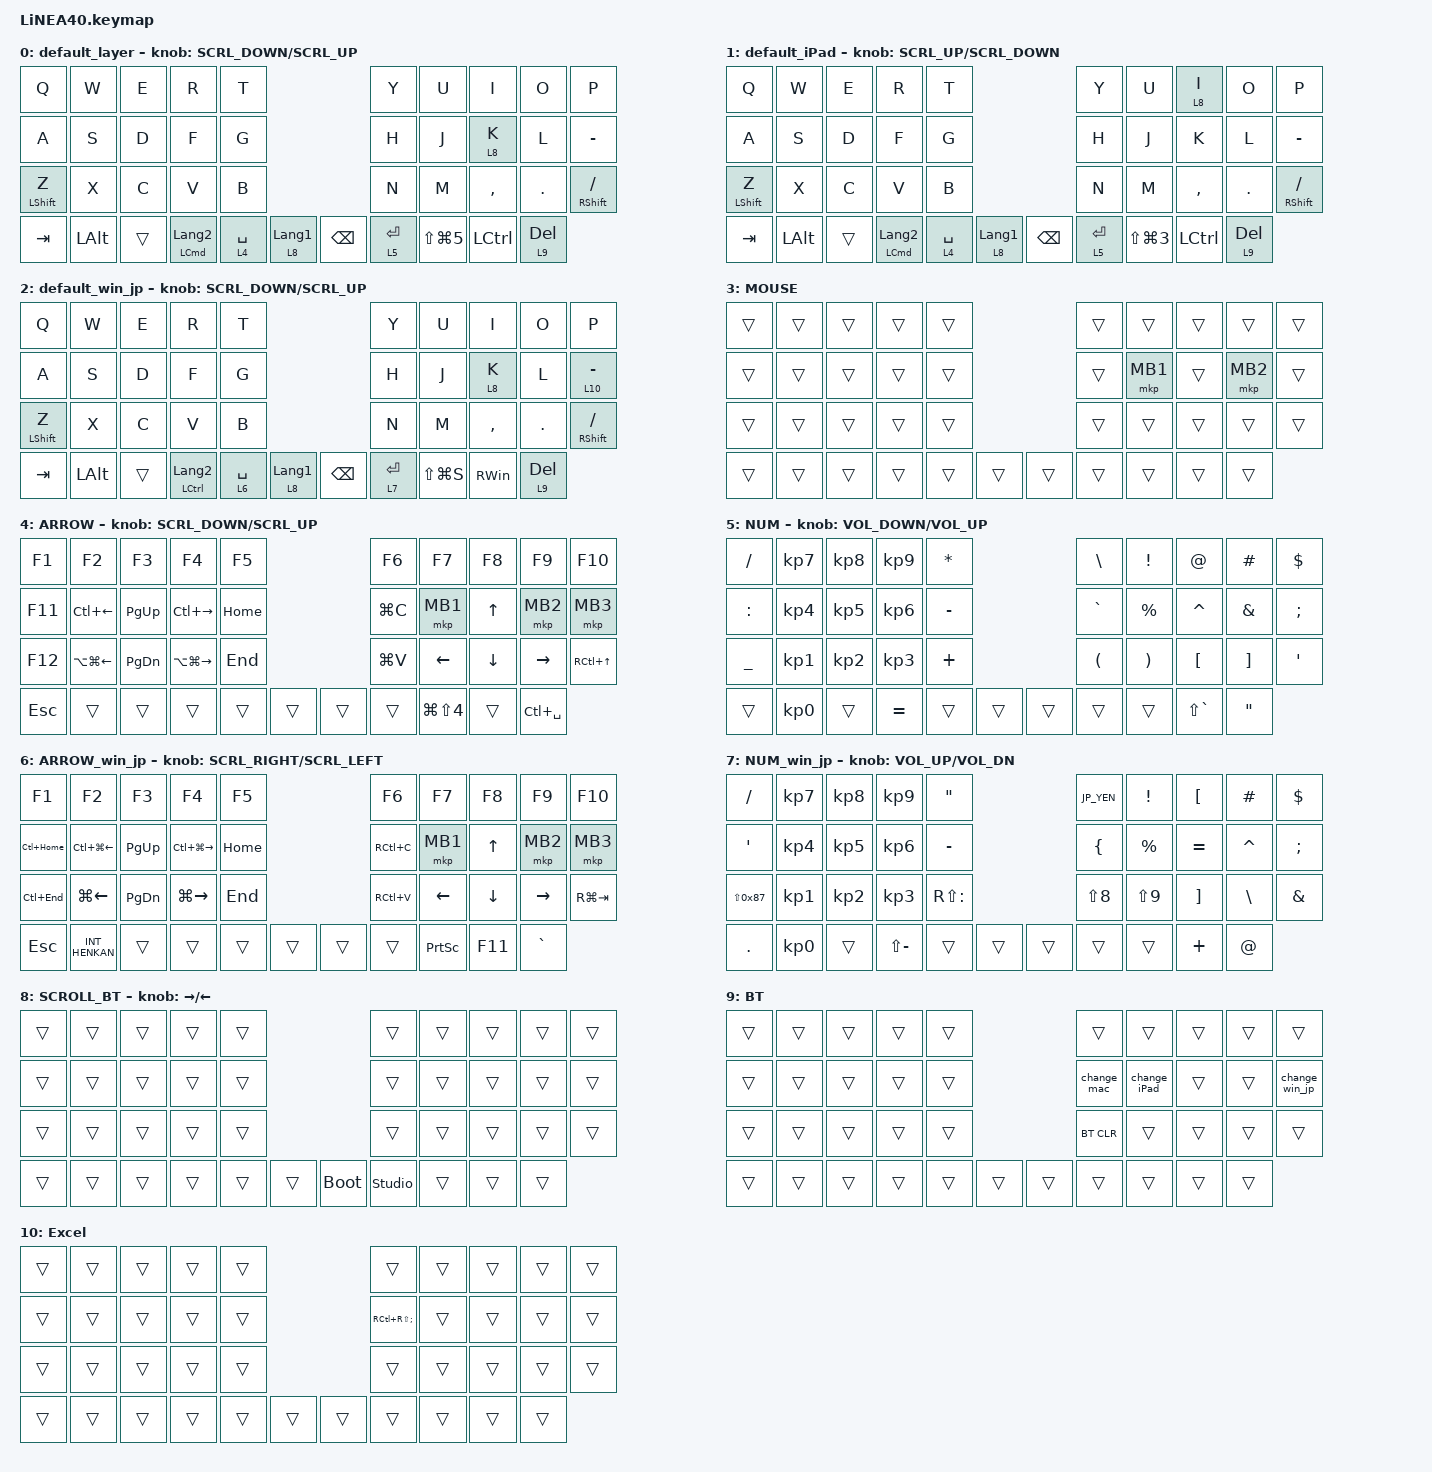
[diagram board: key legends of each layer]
#define ZMK_POINTING_DEFAULT_SCRL_VAL 150

#include <dt-bindings/zmk/input_transform.h>
#include <input/processors.dtsi>
#include <zephyr/dt-bindings/input/input-event-codes.h>
#include <behaviors.dtsi>
#include <dt-bindings/zmk/bt.h>
#include <dt-bindings/zmk/keys.h>
#include <dt-bindings/zmk/pointing.h>

#define default_layer 0
#define default_iPad 1
#define default_win_jp 2
#define MOUSE      3
#define ARROW      4
#define NUM        5
#define ARROW_WIN  6
#define NUM_WIN    7
#define SCROLL_BT  8
#define JP_YEN          0x89
#define JP_TILDE    　　LS(JP_CARET)
#define JP_BACKQUOTE    LEFT_BRACE
#define JP_UNDERSCORE   LS(0x87)

//mouse cursol

&mmv {
    delay-ms = <20>;
    trigger-period-ms = <5>;
    time-to-max-speed-ms = <100>;
    acceleration-exponent = <2>;
};

//mouse scroll

&msc {
    delay-ms = <3>;
    trigger-period-ms = <3>;
    time-to-max-speed-ms = <100>;
    acceleration-exponent = <0>;
};

/ {
    input_processors {
        zip_wheel_scaler: zip_wheel_scaler {
            compatible = "zmk,input-processor-scaler";
            #input-processor-cells = <2>;
            type = <INPUT_EV_REL>;
            codes = <INPUT_REL_WHEEL>;
            track-remainders;
        };
    };
};

/*
&msc_input_listener {
    speed_up {
        layers = <SCROLL_BT>;
        input-processors = <&zip_wheel_scaler 2 1>; //スクロールを2倍速にする
    };
};
*/

&trackball_listener {
    scroller {
        layers = <SCROLL_BT>;
        input-processors =
            <&zip_xy_transform INPUT_TRANSFORM_Y_INVERT>,
            //スクロール方向を逆転,,,,,,,,,,,,,,,,,,,,,,,,,,,,,,,,
            <&zip_xy_to_scroll_mapper>;
    };
};

/ {
    combos {
        compatible = "zmk,combos";

        Tab {
            bindings = <&kp TAB>;
            key-positions = <11 12>;
        };

        Shift_tab {
            bindings = <&kp LS(TAB)>;
            key-positions = <13 12>;
        };

        escape {
            bindings = <&kp ESCAPE>;
            key-positions = <0 1>;
        };

        Left_Click {
            bindings = <&mkp MB1>;
            key-positions = <17 16>;
        };

        Right_Click {
            bindings = <&mkp MB2>;
            key-positions = <18 17>;
        };
    };

    behaviors {
        re_kp: sensor_rotate_kp {
            compatible = "zmk,behavior-sensor-rotate-var";
            #sensor-binding-cells = <2>;
            bindings = <&kp>, <&kp>;
        };

        mouse_scrl: mouse_wheel_scrl {
            compatible = "zmk,behavior-sensor-rotate-var";
            #sensor-binding-cells = <2>;
            bindings = <&msc>, <&msc>;

            tap-ms = <20>;
        };
    };

    macros {
        change_mac: change_mac {
            compatible = "zmk,behavior-macro";
            #binding-cells = <0>;
            bindings = <&bt BT_SEL 0 &to 0>;
            label = "CHANGE_MAC";
        };

        change_iPad: change_iPad {
            compatible = "zmk,behavior-macro";
            #binding-cells = <0>;
            bindings = <&bt BT_SEL 1 &to 1>;
            label = "CHANGE_IPAD";
        };

        change_win_jp: change_win_jp {
            compatible = "zmk,behavior-macro";
            #binding-cells = <0>;
            bindings = <&bt BT_SEL 4 &to 2>;
            label = "CHANGE_WIN_JP";
        };
    };

    keymap {
        compatible = "zmk,keymap";

        default_layer {
            bindings = <
&kp Q             &kp W         &kp E   &kp R                        &kp T                                           &kp Y        &kp U  &kp I           &kp O      &kp P
&kp A             &kp S         &kp D   &kp F                        &kp G                                           &kp H        &kp J  &lt 8 K         &kp L      &kp MINUS
&mt LEFT_SHIFT Z  &kp X         &kp C   &kp V                        &kp B                                           &kp N        &kp M  &kp COMMA       &kp DOT    &mt RIGHT_SHIFT SLASH
&kp TAB           &kp LEFT_ALT  &trans  &mt LEFT_COMMAND LANGUAGE_2  &lt 4 SPACE  &lt 8 LANGUAGE_1    &kp BACKSPACE  &lt 5 ENTER         &kp LS(LG(N5))  &kp LCTRL  &lt 9 DELETE
            >;

            sensor-bindings = <&mouse_scrl SCRL_DOWN SCRL_UP>;
        };

        default_iPad {
            bindings = <
&kp Q             &kp W         &kp E   &kp R                        &kp T                                           &kp Y        &kp U  &lt 8 I               &kp O      &kp P
&kp A             &kp S         &kp D   &kp F                        &kp G                                           &kp H        &kp J  &kp K                 &kp L      &kp MINUS
&mt LEFT_SHIFT Z  &kp X         &kp C   &kp V                        &kp B                                           &kp N        &kp M  &kp COMMA             &kp DOT    &mt RIGHT_SHIFT SLASH
&kp TAB           &kp LEFT_ALT  &trans  &mt LEFT_COMMAND LANGUAGE_2  &lt 4 SPACE  &lt 8 LANGUAGE_1    &kp BACKSPACE  &lt 5 ENTER         &kp LS(LG(NUMBER_3))  &kp LCTRL  &lt 9 DELETE
            >;

            sensor-bindings = <&mouse_scrl SCRL_UP SCRL_DOWN>;
        };

        default_win_jp {
            bindings = <
&kp Q             &kp W         &kp E   &kp R                 &kp T                                           &kp Y        &kp U  &kp I          &kp O          &kp P
&kp A             &kp S         &kp D   &kp F                 &kp G                                           &kp H        &kp J  &lt 8 K        &kp L          &lt 10 MINUS
&mt LEFT_SHIFT Z  &kp X         &kp C   &kp V                 &kp B                                           &kp N        &kp M  &kp COMMA      &kp DOT        &mt RIGHT_SHIFT SLASH
&kp TAB           &kp LEFT_ALT  &trans  &mt LCTRL LANGUAGE_2  &lt 6 SPACE  &lt 8 LANGUAGE_1    &kp BACKSPACE  &lt 7 ENTER         &kp LS(LG(S))  &kp RIGHT_WIN  &lt 9 DELETE
            >;

            sensor-bindings = <&mouse_scrl SCRL_DOWN SCRL_UP>;
        };

        MOUSE {
            bindings = <
&trans  &trans  &trans  &trans  &trans                    &trans  &trans    &trans  &trans    &trans
&trans  &trans  &trans  &trans  &trans                    &trans  &mkp MB1  &trans  &mkp MB2  &trans
&trans  &trans  &trans  &trans  &trans                    &trans  &trans    &trans  &trans    &trans
&trans  &trans  &trans  &trans  &trans  &trans    &trans  &trans            &trans  &trans    &trans
            >;
        };

        ARROW {
            bindings = <
&kp F1      &kp F2            &kp F3         &kp F4             &kp F5                      &kp F6     &kp F7    &kp F8                &kp F9     &kp F10
&kp F11     &kp LC(LEFT)      &kp PAGE_UP    &kp LC(RIGHT)      &kp HOME                    &kp LG(C)  &mkp MB1  &kp UP_ARROW          &mkp MB2   &mkp MB3
&kp F12     &kp LA(LG(LEFT))  &kp PAGE_DOWN  &kp LA(LG(RIGHT))  &kp END                     &kp LG(V)  &kp LEFT  &kp DOWN_ARROW        &kp RIGHT  &kp RC(UP_ARROW)
&kp ESCAPE  &trans            &trans         &trans             &trans    &trans    &trans  &trans               &kp LG(LS(NUMBER_4))  &trans     &kp LC(SPACE)
            >;

            sensor-bindings = <&mouse_scrl SCRL_DOWN SCRL_UP>;
        };

        NUM {
            bindings = <
&kp SLASH       &kp KP_NUMBER_7  &kp KP_NUMBER_8  &kp KP_NUMBER_9  &kp ASTERISK                    &kp BACKSLASH         &kp EXCLAMATION        &kp AT_SIGN       &kp HASH           &kp DOLLAR
&kp COLON       &kp KP_NUMBER_4  &kp KP_NUMBER_5  &kp KP_NUMBER_6  &kp MINUS                       &kp GRAVE             &kp PERCENT            &kp CARET         &kp AMPERSAND      &kp SEMICOLON
&kp UNDERSCORE  &kp KP_NUMBER_1  &kp KP_NUMBER_2  &kp KP_NUMBER_3  &kp PLUS                        &kp LEFT_PARENTHESIS  &kp RIGHT_PARENTHESIS  &kp LEFT_BRACKET  &kp RIGHT_BRACKET  &kp SQT
&trans          &kp KP_NUMBER_0  &trans           &kp EQUAL        &trans        &trans    &trans  &trans                                       &trans            &kp LS(GRAVE)      &kp DOUBLE_QUOTES
            >;

            sensor-bindings = <&re_kp C_VOLUME_DOWN C_VOLUME_UP>;
        };

        ARROW_win_jp {
            bindings = <
&kp F1        &kp F2            &kp F3         &kp F4             &kp F5                      &kp F6     &kp F7    &kp F8           &kp F9     &kp F10
&kp LC(HOME)  &kp LC(LG(LEFT))  &kp PAGE_UP    &kp LC(LG(RIGHT))  &kp HOME                    &kp RC(C)  &mkp MB1  &kp UP_ARROW     &mkp MB2   &mkp MB3
&kp LC(END)   &kp LG(LEFT)      &kp PAGE_DOWN  &kp LG(RIGHT)      &kp END                     &kp RC(V)  &kp LEFT  &kp DOWN_ARROW   &kp RIGHT  &kp RG(TAB)
&kp ESCAPE    &kp INT_HENKAN    &trans         &trans             &trans    &trans    &trans  &trans               &kp PRINTSCREEN  &kp F11    &kp GRAVE
            >;

            sensor-bindings = <&mouse_scrl SCRL_RIGHT SCRL_LEFT>;
        };

        NUM_win_jp {
            bindings = <
&kp SLASH          &kp KP_NUMBER_7  &kp KP_NUMBER_8  &kp KP_NUMBER_9  &kp DOUBLE_QUOTES                    &kp JP_YEN        &kp EXCLAMATION  &kp LEFT_BRACKET   &kp HASH       &kp DOLLAR
&kp SQT            &kp KP_NUMBER_4  &kp KP_NUMBER_5  &kp KP_NUMBER_6  &kp MINUS                            &kp JP_BACKQUOTE  &kp PERCENT      &kp EQUAL          &kp CARET      &kp SEMICOLON
&kp JP_UNDERSCORE  &kp KP_NUMBER_1  &kp KP_NUMBER_2  &kp KP_NUMBER_3  &kp RS(COLON)                        &kp LS(N8)        &kp LS(N9)       &kp RIGHT_BRACKET  &kp BACKSLASH  &kp AMPERSAND
&kp PERIOD         &kp KP_NUMBER_0  &trans           &kp LS(MINUS)    &trans             &trans    &trans  &trans                             &trans             &kp PLUS       &kp AT_SIGN
            >;

            sensor-bindings = <&re_kp C_VOLUME_UP C_VOL_DN>;
        };

        SCROLL_BT {
            bindings = <
&trans  &trans  &trans  &trans  &trans                         &trans          &trans  &trans  &trans  &trans
&trans  &trans  &trans  &trans  &trans                         &trans          &trans  &trans  &trans  &trans
&trans  &trans  &trans  &trans  &trans                         &trans          &trans  &trans  &trans  &trans
&trans  &trans  &trans  &trans  &trans  &trans    &bootloader  &studio_unlock          &trans  &trans  &trans
            >;

            sensor-bindings = <&inc_dec_kp RIGHT_ARROW LEFT_ARROW>;
        };

        BT {
            bindings = <
&trans  &trans  &trans  &trans  &trans                    &trans       &trans        &trans  &trans  &trans
&trans  &trans  &trans  &trans  &trans                    &change_mac  &change_iPad  &trans  &trans  &change_win_jp
&trans  &trans  &trans  &trans  &trans                    &bt BT_CLR   &trans        &trans  &trans  &trans
&trans  &trans  &trans  &trans  &trans  &trans    &trans  &trans                     &trans  &trans  &trans
            >;
        };

        Excel {
            bindings = <
&trans  &trans  &trans  &trans  &trans                    &trans                 &trans  &trans  &trans  &trans
&trans  &trans  &trans  &trans  &trans                    &kp RC(RS(SEMICOLON))  &trans  &trans  &trans  &trans
&trans  &trans  &trans  &trans  &trans                    &trans                 &trans  &trans  &trans  &trans
&trans  &trans  &trans  &trans  &trans  &trans    &trans  &trans                         &trans  &trans  &trans
            >;
        };
    };
};
